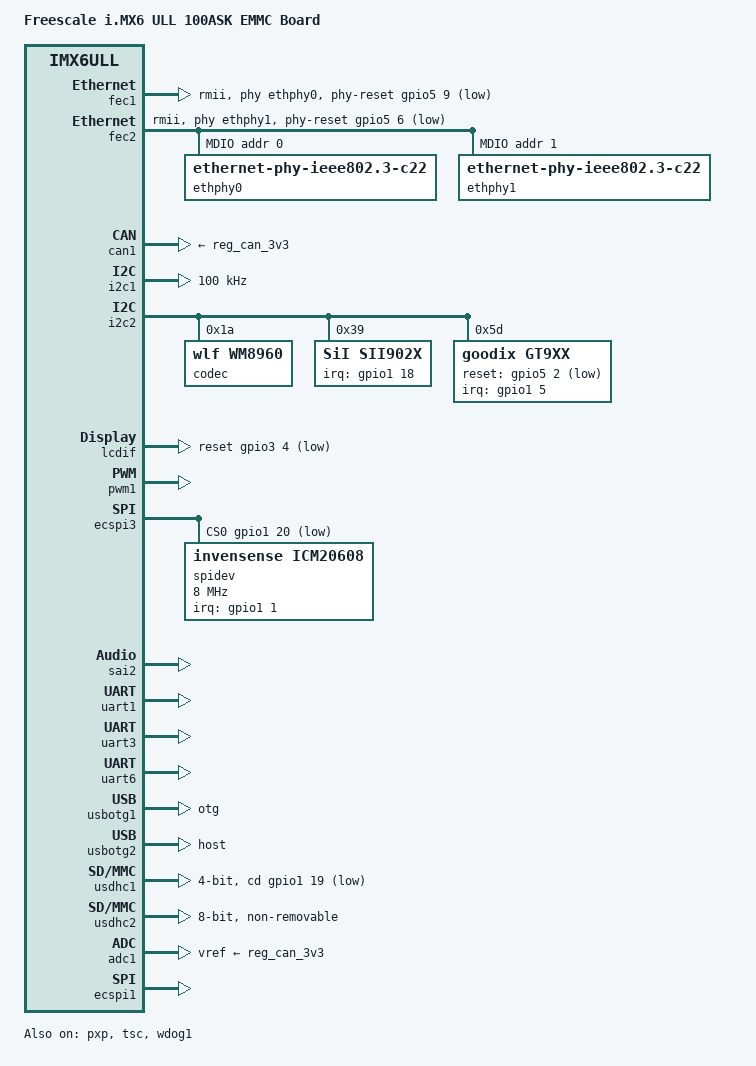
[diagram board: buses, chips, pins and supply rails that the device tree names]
/*
 * Copyright 2019 NXP
 *
 * This program is free software; you can redistribute it and/or
 * modify it under the terms of the GNU General Public License
 * as published by the Free Software Foundation; either version 2
 * of the License, or (at your option) any later version.
 */

/dts-v1/;

#include "imx6ull.dtsi"
#include "imx6ull-100ask-emmc.dtsi"

/ {
	model = "Freescale i.MX6 ULL 100ASK EMMC Board";
	compatible = "fsl,imx6ull-100ask-emmc", "fsl,imx6ull";
};

&gpmi{
	status = "disabled";
};

&cpu0 {
	arm-supply = <&reg_arm>;
	soc-supply = <&reg_soc>;
};

&clks {
	assigned-clocks = <&clks IMX6UL_CLK_PLL4_AUDIO_DIV>;
	assigned-clock-rates = <786432000>;
};

&fec1 {
	pinctrl-names = "default";
	pinctrl-0 = <&pinctrl_enet1>;
	phy-mode = "rmii";
	phy-handle = <&ethphy0>;
	phy-reset-gpios = <&gpio5 9 GPIO_ACTIVE_LOW>;
	phy-reset-duration = <26>;
	status = "okay";
};

&fec2 {
	pinctrl-names = "default";
	pinctrl-0 = <&pinctrl_enet2>;
	phy-mode = "rmii";
	phy-handle = <&ethphy1>;
	phy-reset-gpios = <&gpio5 6 GPIO_ACTIVE_LOW>;
	phy-reset-duration = <26>;
	status = "okay";

	mdio {
		#address-cells = <1>;
		#size-cells = <0>;

		ethphy0: ethernet-phy@0 {
			compatible = "ethernet-phy-ieee802.3-c22";
			smsc,disable-energy-detect;
			reg = <0>;
		};

		ethphy1: ethernet-phy@1 {
			compatible = "ethernet-phy-ieee802.3-c22";
			smsc,disable-energy-detect;
			reg = <1>;
		};
	};
};

&can1 {
	pinctrl-names = "default";
	pinctrl-0 = <&pinctrl_flexcan1>;
	xceiver-supply = <&reg_can_3v3>;
	status = "okay";
};

&gpc {
	fsl,cpu_pupscr_sw2iso = <0x1>;
	fsl,cpu_pupscr_sw = <0x0>;
	fsl,cpu_pdnscr_iso2sw = <0x1>;
	fsl,cpu_pdnscr_iso = <0x1>;
	fsl,ldo-bypass = <0>; /* DCDC, ldo-enable */
};

&i2c1 {
	clock-frequency = <100000>;
	pinctrl-names = "default";
	pinctrl-0 = <&pinctrl_i2c1>;
	status = "okay";
};

&i2c2 {
	clock_frequency = <100000>;
	pinctrl-names = "default";
	pinctrl-0 = <&pinctrl_i2c2>;
	status = "okay";

	codec: wm8960@1a {
		compatible = "wlf,wm8960";
		reg = <0x1a>;
		clocks = <&clks IMX6UL_CLK_SAI2>;
		clock-names = "mclk";
		wlf,shared-lrclk;
	};

	sii902x: sii902x@39 {
		compatible = "SiI,sii902x";
		pinctrl-names = "default";
		reset-names="sii902x";
		pinctrl-0 = <&pinctrl_sii902x>;
		resets = <&sii902x_reset>;
		interrupt-parent = <&gpio1>;
		interrupts = <18 IRQ_TYPE_EDGE_FALLING>;
		mode_str ="1280x720M@60";
		bits-per-pixel = <16>;
		reg = <0x39>;
		status = "okay";
	};

	gt9xx@5d {
		compatible = "goodix,gt9xx";
		reg = <0x5d>;
		status = "okay";
		interrupt-parent = <&gpio1>;
		interrupts = <5 IRQ_TYPE_EDGE_FALLING>;
		pinctrl-names = "default";
		pinctrl-0 = <&pinctrl_tsc_reset &pinctrl_touchscreen_int>;
		reset-gpios = <&gpio5 2 GPIO_ACTIVE_LOW>;
		irq-gpios = <&gpio1 5 IRQ_TYPE_EDGE_FALLING>;
		irq-flags = <2>;                /*1:rising 2: falling*/

		touchscreen-max-id = <5>;
		touchscreen-size-x = <800>;
		touchscreen-size-y = <480>;
		touchscreen-max-w = <1024>;
		touchscreen-max-p = <1024>;

		goodix,type-a-report = <0>;
		goodix,driver-send-cfg = <0>;
		goodix,create-wr-node = <1>;
		goodix,wakeup-with-reset = <0>;
		goodix,resume-in-workqueue = <0>;
		goodix,int-sync = <0>;
		goodix,swap-x2y = <0>;
		goodix,esd-protect = <0>;
		goodix,pen-suppress-finger = <0>;
		goodix,auto-update = <0>;
		goodix,auto-update-cfg = <0>;
		goodix,power-off-sleep = <0>;

		/*7*/
		goodix,cfg-group0 = [
			6b 00 04 58 02 05 0d 00 01 0f
			28 0f 50 32 03 05 00 00 00 00
			00 00 00 00 00 00 00 8a 2a 0c
			45 47 0c 08 00 00 00 40 03 2c
			00 01 00 00 00 03 64 32 00 00
			00 28 64 94 d5 02 07 00 00 04
			95 2c 00 8b 34 00 82 3f 00 7d
			4c 00 7a 5b 00 7a 00 00 00 00
			00 00 00 00 00 00 00 00 00 00
			00 00 00 00 00 00 00 00 00 00
			00 00 00 00 00 00 00 00 00 00
			00 00 18 16 14 12 10 0e 0c 0a
			08 06 04 02 ff ff 00 00 00 00
			00 00 00 00 00 00 00 00 00 00
			00 00 16 18 1c 1d 1e 1f 20 21
			22 24 13 12 10 0f 0a 08 06 04
			02 00 ff ff ff ff ff ff 00 00
			00 00 00 00 00 00 00 00 00 00
			00 00 00 00 79 01
		];

		/*4.3*/
		goodix,cfg-group1 = [
			97 E0 01 10 01 05 0D 00 01 00
			00 05 5A 46 53 11 00 00 11 11
			14 14 14 22 0A 04 00 00 00 00
			00 00 53 00 14 00 00 84 00 00
			3C 00 00 64 1E 28 87 27 08 32
			34 05 0D 20 33 60 11 02 24 00
			00 64 80 80 14 02 00 00 54 89
			68 85 6D 82 72 80 76 7D 7B 7B
			00 00 00 00 00 00 00 F0 50 3C
			FF FF 07 00 00 00 02 14 14 03
			04 00 21 64 0A 00 00 00 00 00
			00 00 00 00 00 00 00 00 00 00
			00 00 00 00 00 00 00 00 00 00
			32 20 50 3C 3C 00 00 00 00 00
			0D 06 0C 05 0B 04 0A 03 FF FF
			FF FF FF FF 00 01 02 03 04 05
			06 07 08 09 0A 0B 0C 0D FF FF
			FF FF FF FF FF FF FF FF FF FF
			00 00 00 00 00 00 00 00 00 00
			00 00 00 00 3C 00 05 1E 00 02
			2A 1E 19 14 02 00 03 0A 05 00
			00 00 00 00 00 00 01 FF FF 86
			22 03 00 00 33 00 0F 00 00 00
			50 3C 50 00 00 00 00 2A 01
		];

		/*5*/
		goodix,cfg-group2 = [
			00 20 03 E0 01 05 3C 00 01 08
			28 0C 50 32 03 05 00 00 00 00
			00 00 00 17 19 1E 14 8B 2B 0D
			33 35 0C 08 00 00 00 9A 03 11
			00 01 00 00 00 00 00 32 00 00
			00 20 58 94 C5 02 00 00 00 04
			B0 23 00 93 2B 00 7B 35 00 69
			41 00 5B 4F 00 5B 00 00 00 00
			00 00 00 00 00 00 00 00 00 00
			00 00 00 00 00 00 00 00 00 00
			00 00 00 00 00 00 00 00 00 00
			00 00 02 04 06 08 0A 0C 0E 10
			12 14 16 18 1A FF 00 00 00 00
			00 00 00 00 00 00 00 00 00 00
			00 00 00 02 04 06 08 0A 0C 0F
			10 12 13 16 18 1C 1D 1E 1F 20
			21 22 24 26 FF FF FF FF 00 00
			00 FF FF FF FF FF FF FF FF FF
			FF FF FF FF 48 01
		];
	};
};

&lcdif {
	pinctrl-names = "default";
	pinctrl-0 = <&pinctrl_lcdif_dat
				&pinctrl_lcdif_ctrl
				&pinctrl_lcdif_reset>;
	display = <&display0>;
	status = "okay";
	reset-gpios = <&gpio3 4 GPIO_ACTIVE_LOW>; /* 100ask */

	display0: display@0 {
		bits-per-pixel = <24>;
		bus-width = <24>;

		display-timings {
			ative-mode = <&timing0>;

			timing0: timing0_1024x768 {
				clock-frequency = <50000000>;
				hactive = <1024>;
				vactive = <600>;
				hfront-porch = <160>;
				hback-porch = <140>;
				hsync-len = <20>;
				vback-porch = <20>;
				vfront-porch = <12>;
				vsync-len = <3>;

				hsync-active = <0>;
				vsync-active = <0>;
				de-active = <1>;
				pixelclk-active = <0>;
			};
		};
	};
};

&pwm1 {
	pinctrl-names = "default";
	pinctrl-0 = <&pinctrl_pwm1>;
	status = "okay";
};

&pxp {
	status = "okay";
};

&ecspi3 { 
	pinctrl-names = "default";
	pinctrl-0 = <&pinctrl_ecspi3>;
	cs-gpios = <&gpio1 20 GPIO_ACTIVE_LOW>;
	status = "okay";

	spidev: icm20608@0{
		compatible = "invensense,icm20608";
		interrupt-parent = <&gpio1>;
		interrupts = <1 1>;
		spi-max-frequency = <8000000>;
		reg = <0>;
	};
};

&sai2 {
	pinctrl-names = "default";
	pinctrl-0 = <&pinctrl_sai2>;

	assigned-clocks = <&clks IMX6UL_CLK_SAI2_SEL>,
					<&clks IMX6UL_CLK_SAI2>;
	assigned-clock-parents = <&clks IMX6UL_CLK_PLL4_AUDIO_DIV>;
	assigned-clock-rates = <0>, <12288000>;

	status = "okay";
};

&tsc {
	pinctrl-names = "default";
	pinctrl-0 = <&pinctrl_tsc>;
	xnur-gpio = <&gpio1 3 GPIO_ACTIVE_LOW>;
	measure-delay-time = <0xfffff>;
	pre-charge-time = <0xffff>;
	status = "okay";
};

&uart1 {
	pinctrl-names = "default";
	pinctrl-0 = <&pinctrl_uart1>;
	status = "okay";
};

&uart3 {
	pinctrl-names = "default";
	pinctrl-0 = <&pinctrl_uart3
				&pinctrl_485_ctl>;
	rs485-rts-active-high;
	rs485-rx-during-tx;
	rs485-rts-delay = <100 100>;
	linux,rs485-enabled-at-boot-time;
	status = "okay";
};
 
&uart6 {
	pinctrl-names = "default";
	pinctrl-0 = <&pinctrl_uart6>;
	status = "okay";
};

&usbotg1 {
	dr_mode = "otg";
	srp-disable;
	hnp-disable;
	adp-disable;
	status = "okay";
};

&usbotg2 {
	dr_mode = "host";
	disable-over-current;
	status = "okay";
};

&usbphy1 {
	tx-d-cal = <0x5>;
};

&usbphy2 {
	tx-d-cal = <0x5>;
};

&usdhc1 {
	pinctrl-names = "default";
	pinctrl-0 = <&pinctrl_usdhc1>;
	cd-gpios = <&gpio1 19 GPIO_ACTIVE_LOW>;
	keep-power-in-suspend;
	enable-sdio-wakeup;
	bus-width = <4>;
	status = "okay";
};

&usdhc2 {
	pinctrl-names = "default";
	pinctrl-0 = <&pinctrl_usdhc2_8bit>;
	bus-width = <8>;
	non-removable;
	status = "okay";
};

&wdog1 {
	status = "okay";
};

&adc1 {
	pinctrl-names = "default";
	pinctrl-0 = <&pinctrl_adc1>;
	num-channels = <5>;
	vref-supply = <&reg_can_3v3>;
	status = "okay";
};

&ecspi1 {
	pinctrl-names = "default";
	pinctrl-0 = <&pinctrl_ecspi1>;

	fsl,spi-num-chipselects = <2>;
	cs-gpios = <&gpio4 26 GPIO_ACTIVE_LOW>, <&gpio4 24 GPIO_ACTIVE_LOW>;
	status = "okay";
};

/delete-node/ &sim2;
